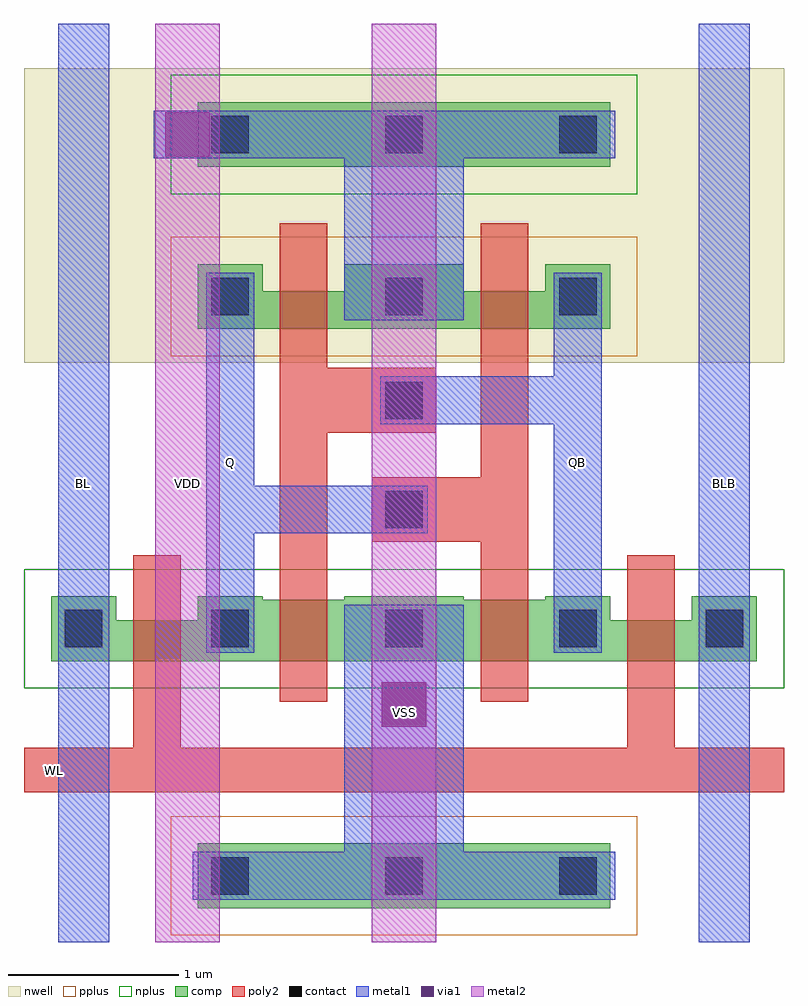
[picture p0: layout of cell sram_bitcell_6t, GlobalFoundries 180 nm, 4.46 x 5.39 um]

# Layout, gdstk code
import gdstk
lib = gdstk.Library(unit=1e-6, precision=1e-09)
def R(c, l, rs):  # rectangles x0, y0, x1, y1
    for r in rs: c.add(gdstk.rectangle(r[:2], r[2:], *l))
def A(c, l, x, y, w, h, nx, ny, dx, dy):  # array of equal rectangles
    R(c, l, [(x+i*dx, y+j*dy, x+i*dx+w, y+j*dy+h) for i in range(nx) for j in range(ny)])
def P(c, l, *ps):  # polygons
    for p in ps: c.add(gdstk.Polygon(p, *l))
nwell = (21, 0)
comp = (22, 0)
poly2 = (30, 0)
pplus = (31, 0)
nplus = (32, 0)
contact = (33, 0)
metal1 = (34, 0)
via1 = (35, 0)
metal2 = (36, 0)

sram_bitcell_6t = lib.new_cell('sram_bitcell_6t')
R(sram_bitcell_6t, nwell, [(0,3.4,4.46,5.13)])
R(sram_bitcell_6t, comp, [(1.02,0.2,3.44,0.58), (1.02,4.55,3.44,4.93)])
P(sram_bitcell_6t, comp, [(0.16,1.65),(0.16,2.03),(0.54,2.03),(0.54,1.89),(1.02,1.89),(1.02,2.03),(1.4,2.03),(1.4,2.01),(1.88,2.01),(1.88,2.03),(2.58,2.03),(2.58,2.01),(3.06,2.01),(3.06,2.03),(3.44,2.03),(3.44,1.89),(3.92,1.89),(3.92,2.03),(4.3,2.03),(4.3,1.65)],
  [(1.02,3.6),(1.02,3.98),(1.4,3.98),(1.4,3.82),(1.88,3.82),(1.88,3.98),(2.58,3.98),(2.58,3.82),(3.06,3.82),(3.06,3.98),(3.44,3.98),(3.44,3.6)])
P(sram_bitcell_6t, poly2, [(0,0.88),(0,1.14),(0.64,1.14),(0.64,2.27),(0.92,2.27),(0.92,1.14),(3.54,1.14),(3.54,2.27),(3.82,2.27),(3.82,1.14),(4.46,1.14),(4.46,0.88)],
  [(1.5,1.41),(1.5,4.22),(1.78,4.22),(1.78,3.37),(2.42,3.37),(2.42,2.99),(1.78,2.99),(1.78,1.41)],
  [(2.68,1.41),(2.68,2.35),(2.04,2.35),(2.04,2.73),(2.68,2.73),(2.68,4.22),(2.96,4.22),(2.96,1.41)])
R(sram_bitcell_6t, pplus, [(0.86,0.04,3.6,0.74), (0.86,3.44,3.6,4.14)])
R(sram_bitcell_6t, nplus, [(0,1.49,4.46,2.19), (0.86,4.39,3.6,5.09)])
A(sram_bitcell_6t, contact, 1.1, 0.28, 0.22, 0.22, 3, 2, 1.02, 1.45)
A(sram_bitcell_6t, contact, 1.1, 3.68, 0.22, 0.22, 3, 2, 1.02, 0.95)
R(sram_bitcell_6t, contact, [(0.24,1.73,0.46,1.95), (4,1.73,4.22,1.95), (2.12,2.43,2.34,2.65), (2.12,3.07,2.34,3.29)])
R(sram_bitcell_6t, metal1, [(0.2,0,0.5,5.39), (3.96,0,4.26,5.39)])
P(sram_bitcell_6t, metal1, [(0.99,0.25),(0.99,0.53),(1.88,0.53),(1.88,1.98),(2.58,1.98),(2.58,0.53),(3.47,0.53),(3.47,0.25)],
  [(1.07,1.7),(1.07,3.93),(1.35,3.93),(1.35,2.68),(2.37,2.68),(2.37,2.4),(1.35,2.4),(1.35,1.7)],
  [(3.11,1.7),(3.11,3.04),(2.09,3.04),(2.09,3.32),(3.11,3.32),(3.11,3.93),(3.39,3.93),(3.39,1.7)],
  [(1.88,3.65),(1.88,4.6),(0.76,4.6),(0.76,4.88),(3.47,4.88),(3.47,4.6),(2.58,4.6),(2.58,3.65)])
R(sram_bitcell_6t, via1, [(2.1,1.265,2.36,1.525), (0.83,4.61,1.09,4.87)])
R(sram_bitcell_6t, metal2, [(0.77,0,1.15,5.39), (2.04,0,2.42,5.39)])
sram_bitcell_6t.add(gdstk.Label('BL', (0.35,2.695), layer=34, texttype=10))
sram_bitcell_6t.add(gdstk.Label('BLB', (4.11,2.695), layer=34, texttype=10))
sram_bitcell_6t.add(gdstk.Label('Q', (1.21,2.815), layer=34, texttype=10))
sram_bitcell_6t.add(gdstk.Label('QB', (3.25,2.815), layer=34, texttype=10))
sram_bitcell_6t.add(gdstk.Label('WL', (0.18,1.01), layer=30, texttype=10))
sram_bitcell_6t.add(gdstk.Label('VDD', (0.96,2.695), layer=36, texttype=10))
sram_bitcell_6t.add(gdstk.Label('VSS', (2.23,1.348), layer=36, texttype=10))

lib.write_gds('sram_bitcell_6t.gds')
